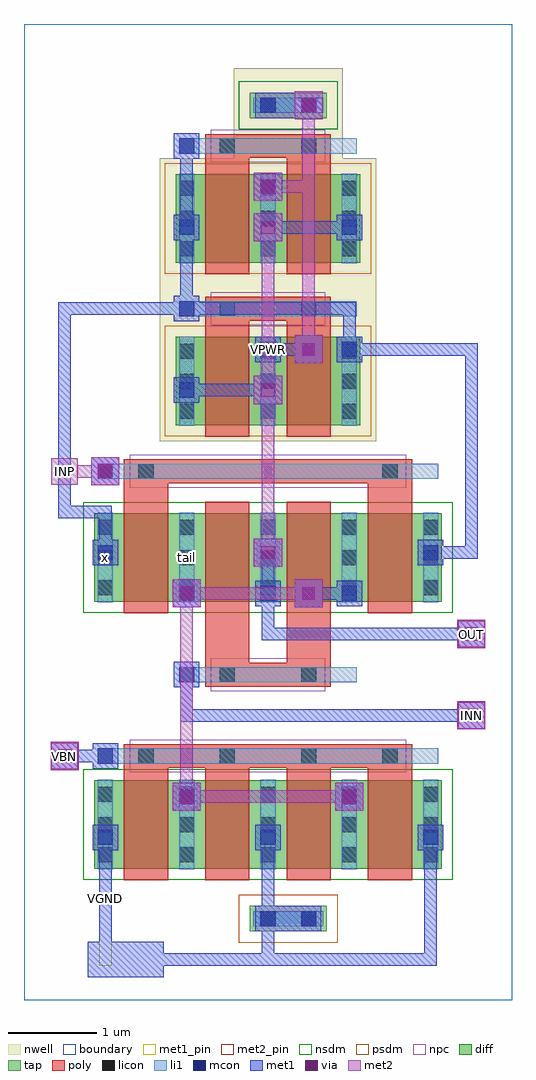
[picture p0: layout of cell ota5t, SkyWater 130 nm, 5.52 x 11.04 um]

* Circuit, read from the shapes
.subckt ota5t INN INP OUT VBN VGND VPWR tail x
XM1 tail VBN VGND VGND sky130_fd_pr__nfet_01v8 w=1 l=0.5 m=4
XM2 tail INP x VGND sky130_fd_pr__nfet_01v8 w=1 l=0.5 m=2
XM3 OUT INN tail VGND sky130_fd_pr__nfet_01v8 w=1 l=0.5 m=2
XM4 VPWR x OUT VPWR sky130_fd_pr__pfet_01v8 w=1 l=0.5 m=2
XM5 VPWR x x VPWR sky130_fd_pr__pfet_01v8 w=1 l=0.5 m=2
.ends

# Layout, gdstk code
import gdstk
lib = gdstk.Library(unit=1e-6, precision=1e-09)
def R(c, l, rs):  # rectangles x0, y0, x1, y1
    for r in rs: c.add(gdstk.rectangle(r[:2], r[2:], *l))
def A(c, l, x, y, w, h, nx, ny, dx, dy):  # array of equal rectangles
    R(c, l, [(x+i*dx, y+j*dy, x+i*dx+w, y+j*dy+h) for i in range(nx) for j in range(ny)])
nwell = (64, 20)
diff = (65, 20)
tap = (65, 44)
poly = (66, 20)
licon = (66, 44)
li1 = (67, 20)
mcon = (67, 44)
met1_pin = (68, 16)
met1 = (68, 20)
via = (68, 44)
met2_pin = (69, 16)
met2 = (69, 20)
nsdm = (93, 44)
psdm = (94, 20)
npc = (95, 20)
boundary = (235, 4)

ota5t = lib.new_cell('ota5t')
R(ota5t, nwell, [(1.535,6.32,3.985,9.52), (2.375,9.52,3.605,10.54)])
R(ota5t, diff, [(0.795,1.485,4.725,2.485), (0.795,4.505,4.725,5.505), (1.715,6.5,3.805,7.5), (1.715,8.34,3.805,9.34)])
R(ota5t, tap, [(2.555,0.775,3.425,1.065), (2.555,9.975,3.425,10.265)])
A(ota5t, poly, 1.13, 1.355, 0.5, 1.405, 4, 1, 0.92, 0)
R(ota5t, poly, [(1.13,2.625,4.39,2.895), (2.05,3.545,3.47,3.815), (2.05,3.68,2.55,5.635), (2.97,3.68,3.47,5.635), (1.13,4.375,1.63,5.98), (3.89,4.375,4.39,5.98), (1.13,5.845,4.39,6.115), (2.05,6.37,2.55,7.82), (2.97,6.37,3.47,7.82), (2.05,7.685,3.47,7.955), (2.05,8.21,2.55,9.66), (2.97,8.21,3.47,9.66), (2.05,9.525,3.47,9.795)])
A(ota5t, licon, 0.835, 1.56, 0.17, 0.17, 5, 3, 0.92, 0.34)
A(ota5t, licon, 1.295, 2.675, 0.17, 0.17, 4, 1, 0.92, 0)
A(ota5t, licon, 0.835, 4.58, 0.17, 0.17, 5, 3, 0.92, 0.34)
A(ota5t, licon, 1.755, 6.575, 0.17, 0.17, 3, 3, 0.92, 0.34)
A(ota5t, licon, 1.755, 8.415, 0.17, 0.17, 3, 3, 0.92, 0.34)
R(ota5t, licon, [(2.675,0.835,2.845,1.005), (3.135,0.835,3.305,1.005), (2.215,3.595,2.385,3.765), (3.135,3.595,3.305,3.765), (1.295,5.895,1.465,6.065), (4.055,5.895,4.225,6.065), (2.215,7.735,2.385,7.905), (3.135,7.735,3.305,7.905), (2.215,9.575,2.385,9.745), (3.135,9.575,3.305,9.745), (2.675,10.035,2.845,10.205), (3.135,10.035,3.305,10.205)])
A(ota5t, li1, 0.835, 1.48, 0.17, 1.01, 5, 2, 0.92, 3.02)
A(ota5t, li1, 1.755, 6.495, 0.17, 1.01, 3, 2, 0.92, 1.84)
R(ota5t, li1, [(2.595,0.835,3.385,1.005), (0.835,2.675,4.685,2.845), (1.755,3.595,3.765,3.765), (0.835,5.895,4.685,6.065), (1.755,7.735,3.765,7.905), (1.755,9.575,3.765,9.745), (2.595,10.035,3.385,10.205)])
A(ota5t, mcon, 0.835, 1.755, 0.17, 0.17, 3, 1, 1.84, 0)
A(ota5t, mcon, 1.755, 4.515, 0.17, 0.17, 3, 1, 0.92, 0)
A(ota5t, mcon, 1.755, 6.815, 0.17, 0.17, 1, 4, 0, 0.92)
R(ota5t, mcon, [(2.675,0.835,2.845,1.005), (3.135,0.835,3.305,1.005), (1.755,2.215,1.925,2.385), (3.595,2.215,3.765,2.385), (0.835,2.675,1.005,2.845), (1.755,3.595,1.925,3.765), (0.835,4.975,1.005,5.145), (4.515,4.975,4.685,5.145), (0.835,5.895,1.005,6.065), (2.675,7.275,2.845,7.445), (3.595,7.275,3.765,7.445), (3.595,8.655,3.765,8.825), (2.675,9.115,2.845,9.285), (2.675,10.035,2.845,10.205), (3.135,10.035,3.305,10.205)])
R(ota5t, met1_pin, [(0.85,0.39,0.99,1.91), (2.615,7.215,2.905,7.505)])
A(ota5t, met1, 0.775, 1.695, 0.29, 0.29, 3, 1, 1.84, 0)
A(ota5t, met1, 3.06, 4.44, 0.32, 0.32, 1, 3, 0, 2.76)
A(ota5t, met1, 1.695, 4.455, 0.29, 0.29, 3, 1, 0.92, 0)
A(ota5t, met1, 2.6, 4.9, 0.32, 0.32, 1, 3, 0, 1.84)
A(ota5t, met1, 1.695, 6.755, 0.29, 0.29, 1, 4, 0, 0.92)
R(ota5t, met1, [(0.72,0.26,1.58,0.66), (0.85,0.39,0.99,1.91), (1.31,0.39,2.83,0.53), (2.69,0.39,2.83,0.99), (2.69,0.39,4.67,0.53), (4.53,0.39,4.67,1.91), (2.615,0.775,3.365,1.065), (2.69,0.85,2.83,0.99), (2.69,0.85,2.83,1.91), (1.68,2.14,2,2.46), (3.52,2.14,3.84,2.46), (1.695,2.155,1.985,2.445), (3.535,2.155,3.825,2.445), (0.3,2.6,0.62,2.92), (0.775,2.615,1.065,2.905), (0.39,2.69,0.99,2.83), (4.9,3.06,5.22,3.38), (1.77,3.15,1.91,3.75), (1.77,3.15,5.13,3.29), (1.695,3.535,1.985,3.825), (4.9,3.98,5.22,4.3), (2.69,4.07,2.83,4.67), (2.69,4.07,5.13,4.21), (1.68,4.44,2,4.76), (2.69,4.53,2.83,5.13), (3.15,4.53,3.75,4.67), (0.775,4.915,1.065,5.205), (4.455,4.915,4.745,5.205), (0.85,4.99,0.99,5.59), (4.53,4.99,5.13,5.13), (4.99,4.99,5.13,7.43), (0.39,5.45,0.99,5.59), (0.39,5.45,0.53,7.89), (0.76,5.82,1.08,6.14), (0.775,5.835,1.065,6.125), (1.77,6.83,2.83,6.97), (2.615,7.215,2.905,7.505), (3.535,7.215,3.825,7.505), (2.69,7.29,3.29,7.43), (3.61,7.29,3.75,7.89), (3.61,7.29,5.13,7.43), (0.39,7.75,1.91,7.89), (1.77,7.75,1.91,8.81), (1.77,7.75,3.75,7.89), (3.535,8.595,3.825,8.885), (1.77,8.67,1.91,9.73), (2.69,8.67,3.75,8.81), (2.6,9.04,2.92,9.36), (2.615,9.055,2.905,9.345), (2.615,9.975,3.365,10.265), (3.15,10.05,3.29,10.19)])
A(ota5t, via, 3.145, 4.525, 0.15, 0.15, 1, 3, 0, 2.76)
A(ota5t, via, 2.685, 4.985, 0.15, 0.15, 1, 3, 0, 1.84)
R(ota5t, via, [(1.765,2.225,1.915,2.375), (3.605,2.225,3.755,2.375), (0.385,2.685,0.535,2.835), (4.985,3.145,5.135,3.295), (4.985,4.065,5.135,4.215), (1.765,4.525,1.915,4.675), (0.845,5.905,0.995,6.055), (2.685,9.125,2.835,9.275)])
R(ota5t, met2_pin, [(0.31,2.61,0.61,2.91), (4.91,3.07,5.21,3.37), (4.91,3.99,5.21,4.29), (0.31,5.83,0.61,6.13)])
A(ota5t, met2, 3.06, 4.44, 0.32, 0.32, 1, 3, 0, 2.76)
A(ota5t, met2, 2.6, 4.9, 0.32, 0.32, 1, 3, 0, 1.84)
R(ota5t, met2, [(1.68,2.14,2,2.46), (3.52,2.14,3.84,2.46), (1.77,2.23,1.91,4.67), (1.77,2.23,3.75,2.37), (0.3,2.6,0.62,2.92), (0.31,2.61,0.61,2.91), (0.39,2.69,0.53,2.83), (4.9,3.06,5.22,3.38), (4.91,3.07,5.21,3.37), (4.99,3.15,5.13,3.29), (4.9,3.98,5.22,4.3), (4.91,3.99,5.21,4.29), (4.99,4.07,5.13,4.21), (1.68,4.44,2,4.76), (1.77,4.53,3.29,4.67), (2.69,4.99,2.83,6.97), (0.76,5.82,1.08,6.14), (0.31,5.83,0.61,6.13), (0.39,5.91,0.53,6.05), (0.39,5.91,0.99,6.05), (2.69,6.83,2.83,8.81), (3.15,7.29,3.29,9.27), (2.6,9.04,2.92,9.36), (2.69,9.13,3.29,9.27), (3.15,9.13,3.29,10.19)])
R(ota5t, nsdm, [(0.67,1.36,4.85,2.61), (0.67,4.38,4.85,5.63), (2.43,9.85,3.55,10.39)])
R(ota5t, psdm, [(2.43,0.65,3.55,1.19), (1.59,6.375,3.93,7.625), (1.59,8.215,3.93,9.465)])
R(ota5t, npc, [(1.195,2.575,4.325,2.945), (2.115,3.495,3.405,3.865), (1.195,5.795,4.325,6.165), (2.115,7.635,3.405,8.005), (2.115,9.475,3.405,9.845)])
R(ota5t, boundary, [(0,0,5.52,11.04)])
ota5t.add(gdstk.Label('x', (0.92,5.005), layer=67, texttype=5))
ota5t.add(gdstk.Label('tail', (1.84,5.005), layer=67, texttype=5))
ota5t.add(gdstk.Label('VPWR', (2.76,7.36), layer=68, texttype=5))
ota5t.add(gdstk.Label('VGND', (0.92,1.15), layer=68, texttype=5))
ota5t.add(gdstk.Label('INP', (0.46,5.98), layer=69, texttype=5))
ota5t.add(gdstk.Label('INN', (5.06,3.22), layer=69, texttype=5))
ota5t.add(gdstk.Label('VBN', (0.46,2.76), layer=69, texttype=5))
ota5t.add(gdstk.Label('OUT', (5.06,4.14), layer=69, texttype=5))
ota5t.add(gdstk.Label('VPWR', (2.76,7.36), layer=68, texttype=16))
ota5t.add(gdstk.Label('VGND', (0.92,1.15), layer=68, texttype=16))
ota5t.add(gdstk.Label('INP', (0.46,5.98), layer=69, texttype=16))
ota5t.add(gdstk.Label('INN', (5.06,3.22), layer=69, texttype=16))
ota5t.add(gdstk.Label('VBN', (0.46,2.76), layer=69, texttype=16))
ota5t.add(gdstk.Label('OUT', (5.06,4.14), layer=69, texttype=16))

lib.write_gds('ota5t.gds')
